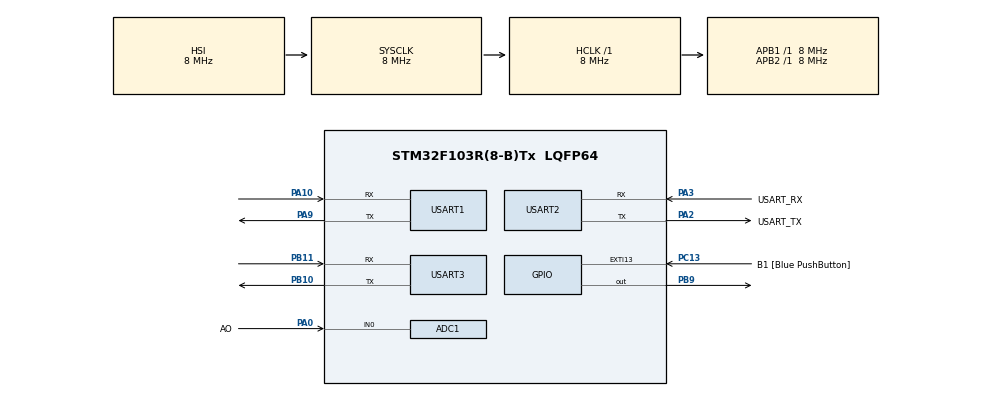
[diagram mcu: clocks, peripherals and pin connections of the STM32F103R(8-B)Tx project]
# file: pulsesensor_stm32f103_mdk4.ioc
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ADC1.Channel-0\#ChannelRegularConversion=ADC_CHANNEL_0
ADC1.EnableAnalogWatchDog=false
ADC1.Rank-0\#ChannelRegularConversion=1
ADC1.SamplingTime-0\#ChannelRegularConversion=ADC_SAMPLETIME_13CYCLES_5
ADC1.master=1
Mcu.Family=STM32F1
Mcu.Name=STM32F103R(8-B)Tx
Mcu.Package=LQFP64
NVIC.PriorityGroup=NVIC_PRIORITYGROUP_4
NVIC.TIM3_IRQn=true\:0\:0\:false
PA0-WKUP.GPIO_Label=AO
PA0-WKUP.GPIO_Mode=GPIO_MODE_ANALOG
PA0-WKUP.Signal=ADCx_IN0
PA10.Mode=Asynchronous
PA10.Signal=USART1_RX
PA13.GPIO_Label=TMS
PA13.Mode=Trace_Asynchronous_SW
PA13.Signal=SYS_JTMS-SWDIO
PA14.GPIO_Label=TCK
PA14.Mode=Trace_Asynchronous_SW
PA14.Signal=SYS_JTCK-SWCLK
PA2.GPIO_Label=USART_TX
PA2.GPIO_Mode=GPIO_MODE_AF_PP
PA2.GPIO_PuPd=GPIO_NOPULL
PA2.GPIO_Speed=GPIO_SPEED_HIGH
PA2.Mode=Asynchronous
PA2.Signal=USART2_TX
PA3.GPIO_Label=USART_RX
PA3.GPIO_Mode=GPIO_MODE_INPUT
PA3.GPIO_PuPd=GPIO_NOPULL
PA3.GPIO_Speed=GPIO_SPEED_LOW
PA3.Mode=Asynchronous
PA3.Signal=USART2_RX
PA9.Mode=Asynchronous
PA9.Signal=USART1_TX
PB10.Mode=Asynchronous
PB10.Signal=USART3_TX
PB11.Mode=Asynchronous
PB11.Signal=USART3_RX
PB3.GPIO_Label=SWO
PB3.Mode=Trace_Asynchronous_SW
PB3.Signal=SYS_JTDO-TRACESWO
PB9.Signal=GPIO_Output
PC13-TAMPER-RTC.GPIO_Label=B1 [Blue PushButton]
PC13-TAMPER-RTC.GPIO_ModeDefaultEXTI=GPIO_MODE_EVT_RISING
PC13-TAMPER-RTC.GPIO_PuPd=GPIO_NOPULL
PC13-TAMPER-RTC.Signal=GPXTI13
PC14-OSC32_IN.Signal=RCC_OSC32_IN
PC15-OSC32_OUT.Signal=RCC_OSC32_OUT
PD0-OSC_IN.Signal=RCC_OSC_IN
PD1-OSC_OUT.Signal=RCC_OSC_OUT
ProjectManager.HeapSize=0x200
ProjectManager.StackSize=0x400
ProjectManager.TargetToolchain=MDK-ARM V4
RCC.AHBFreq_Value=8000000
RCC.APB1Freq_Value=8000000
RCC.APB1TimFreq_Value=8000000
RCC.APB2Freq_Value=8000000
RCC.APB2TimFreq_Value=8000000
RCC.HCLKFreq_Value=8000000
RCC.PLLMUL=RCC_PLL_MUL16
RCC.SYSCLKFreq_VALUE=8000000
RCC.USBFreq_Value=64000000
SH.ADCx_IN0.0=ADC1_IN0,IN0
TIM3.Period=3999
TIM3.Prescaler=3
USART1.VirtualMode=VM_ASYNC
USART2.VirtualMode=VM_ASYNC
USART3.VirtualMode=VM_ASYNC
VP_TIM3_VS_ClockSourceINT.Mode=Internal
board=pulsesensor_stm32f103_mdk4

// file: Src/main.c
/**
  ******************************************************************************
  * File Name          : main.c
  * Date               : 29/09/2017 14:47:18
  * Description        : Main program body
  ******************************************************************************
  *
  * COPYRIGHT(c) 2017 STMicroelectronics
  *
  * Redistribution and use in source and binary forms, with or without modification,
  * are permitted provided that the following conditions are met:
  *   1. Redistributions of source code must retain the above copyright notice,
  *      this list of conditions and the following disclaimer.
  *   2. Redistributions in binary form must reproduce the above copyright notice,
  *      this list of conditions and the following disclaimer in the documentation
  *      and/or other materials provided with the distribution.
  *   3. Neither the name of STMicroelectronics nor the names of its contributors
  *      may be used to endorse or promote products derived from this software
  *      without specific prior written permission.
  *
  * THIS SOFTWARE IS PROVIDED BY THE COPYRIGHT HOLDERS AND CONTRIBUTORS "AS IS"
  * AND ANY EXPRESS OR IMPLIED WARRANTIES, INCLUDING, BUT NOT LIMITED TO, THE
  * IMPLIED WARRANTIES OF MERCHANTABILITY AND FITNESS FOR A PARTICULAR PURPOSE ARE
  * DISCLAIMED. IN NO EVENT SHALL THE COPYRIGHT HOLDER OR CONTRIBUTORS BE LIABLE
  * FOR ANY DIRECT, INDIRECT, INCIDENTAL, SPECIAL, EXEMPLARY, OR CONSEQUENTIAL
  * DAMAGES (INCLUDING, BUT NOT LIMITED TO, PROCUREMENT OF SUBSTITUTE GOODS OR
  * SERVICES; LOSS OF USE, DATA, OR PROFITS; OR BUSINESS INTERRUPTION) HOWEVER
  * CAUSED AND ON ANY THEORY OF LIABILITY, WHETHER IN CONTRACT, STRICT LIABILITY,
  * OR TORT (INCLUDING NEGLIGENCE OR OTHERWISE) ARISING IN ANY WAY OUT OF THE USE
  * OF THIS SOFTWARE, EVEN IF ADVISED OF THE POSSIBILITY OF SUCH DAMAGE.
  *
  ******************************************************************************
  */

#include "stm32f1xx_hal.h"

/* USER CODE BEGIN Includes */
#include "stdio.h"
/* USER CODE END Includes */

ADC_HandleTypeDef hadc1;

TIM_HandleTypeDef htim3;

UART_HandleTypeDef huart1;
UART_HandleTypeDef huart2;
UART_HandleTypeDef huart3;

/* USER CODE BEGIN PV */
// these variables are volatile because they are used during the interrupt service routine!
#define true 1
#define false 0
int BPM;                   // used to hold the pulse rate
int Signal;                // holds the incoming raw data
int IBI = 600;             // holds the time between beats, must be seeded!
unsigned char Pulse = false;     // true when pulse wave is high, false when it's low
unsigned char QS = false;        // becomes true when Arduoino finds a beat.
int rate[10];                    // array to hold last ten IBI values
unsigned long sampleCounter = 0;          // used to determine pulse timing
unsigned long lastBeatTime = 0;           // used to find IBI
int P =512;                      // used to find peak in pulse wave, seeded
int T = 512;                     // used to find trough in pulse wave, seeded
int thresh = 512;                // used to find instant moment of heart beat, seeded
int amp = 100;                   // used to hold amplitude of pulse waveform, seeded
int Num;
unsigned char firstBeat = true;        // used to seed rate array so we startup with reasonable BPM
unsigned char secondBeat = false;      // used to seed rate array so we startup with reasonable BPM
/* USER CODE END PV */

void SystemClock_Config(void);
static void MX_GPIO_Init(void);
static void SystemClock_Config(void);
static void MX_ADC1_Init(void);
static void MX_TIM3_Init(void);
static void MX_USART2_UART_Init(void);
static void MX_USART1_UART_Init(void);
static void MX_USART3_UART_Init(void);

/* USER CODE BEGIN PFP */
void sendDataToProcessing(char symbol, int dat );
#ifdef __GNUC__
  /* With GCC/RAISONANCE, small printf (option LD Linker->Libraries->Small printf
     set to 'Yes') calls __io_putchar() */
  #define PUTCHAR_PROTOTYPE int __io_putchar(int ch)
#else
  #define PUTCHAR_PROTOTYPE int fputc(int ch, FILE *f)
#endif /* __GNUC__ */
/* USER CODE END PFP */

int main(void)
{

  /* MCU Configuration----------------------------------------------------------*/

  /* Reset of all peripherals, Initializes the Flash interface and the Systick. */
  HAL_Init();

  /* Configure the system clock */
  SystemClock_Config();

  /* Initialize all configured peripherals */
  MX_GPIO_Init();
  SystemClock_Config();
  MX_ADC1_Init();
  MX_TIM3_Init();
  MX_USART2_UART_Init();
  MX_USART1_UART_Init();
  MX_USART3_UART_Init();

  /* USER CODE BEGIN 2 */
  HAL_TIM_Base_Start_IT(&htim3);
  /* USER CODE END 2 */

  /* Infinite loop */
  /* USER CODE BEGIN WHILE */
  while (1)
  {
		sendDataToProcessing('S', Signal);     // send Processing the raw Pulse Sensor data
		if (QS == true)
		{
				sendDataToProcessing('B',BPM);   // send heart rate with a 'B' prefix
				sendDataToProcessing('Q',IBI);   // send time between beats with a 'Q' prefix
				QS = false;                      // reset the Quantified Self flag for next time
		}
		HAL_Delay(20);	//delay for 20ms
  /* USER CODE END WHILE */

  }

}

/** System Clock Configuration
*/
void SystemClock_Config(void)
{

  RCC_OscInitTypeDef RCC_OscInitStruct;
  RCC_ClkInitTypeDef RCC_ClkInitStruct;
  RCC_PeriphCLKInitTypeDef PeriphClkInit;

  RCC_OscInitStruct.OscillatorType = RCC_OSCILLATORTYPE_HSI;
  RCC_OscInitStruct.HSIState = RCC_HSI_ON;
  RCC_OscInitStruct.HSICalibrationValue = 16;
  RCC_OscInitStruct.PLL.PLLState = RCC_PLL_NONE;
  HAL_RCC_OscConfig(&RCC_OscInitStruct);

  RCC_ClkInitStruct.ClockType = RCC_CLOCKTYPE_SYSCLK;
  RCC_ClkInitStruct.SYSCLKSource = RCC_SYSCLKSOURCE_HSI;
  RCC_ClkInitStruct.AHBCLKDivider = RCC_SYSCLK_DIV1;
  RCC_ClkInitStruct.APB1CLKDivider = RCC_HCLK_DIV1;
  RCC_ClkInitStruct.APB2CLKDivider = RCC_HCLK_DIV1;
  HAL_RCC_ClockConfig(&RCC_ClkInitStruct, FLASH_LATENCY_0);

  PeriphClkInit.PeriphClockSelection = RCC_PERIPHCLK_ADC;
  PeriphClkInit.AdcClockSelection = RCC_ADCPCLK2_DIV2;
  HAL_RCCEx_PeriphCLKConfig(&PeriphClkInit);

}

/* ADC1 init function */
void MX_ADC1_Init(void)
{

  ADC_ChannelConfTypeDef sConfig;

    /**Common config
    */
  hadc1.Instance = ADC1;
  hadc1.Init.ScanConvMode = ADC_SCAN_DISABLE;
  hadc1.Init.ContinuousConvMode = DISABLE;
  hadc1.Init.DiscontinuousConvMode = DISABLE;
  hadc1.Init.ExternalTrigConv = ADC_SOFTWARE_START;
  hadc1.Init.DataAlign = ADC_DATAALIGN_RIGHT;
  hadc1.Init.NbrOfConversion = 1;
  HAL_ADC_Init(&hadc1);

    /**Configure Regular Channel
    */
  sConfig.Channel = ADC_CHANNEL_0;
  sConfig.Rank = 1;
  sConfig.SamplingTime = ADC_SAMPLETIME_13CYCLES_5;
  HAL_ADC_ConfigChannel(&hadc1, &sConfig);

}

/* TIM3 init function */
void MX_TIM3_Init(void)
{

  TIM_ClockConfigTypeDef sClockSourceConfig;
  TIM_MasterConfigTypeDef sMasterConfig;

  htim3.Instance = TIM3;
  htim3.Init.Prescaler = 3;
  htim3.Init.CounterMode = TIM_COUNTERMODE_UP;
  htim3.Init.Period = 3999;
  htim3.Init.ClockDivision = TIM_CLOCKDIVISION_DIV1;
  HAL_TIM_Base_Init(&htim3);

  sClockSourceConfig.ClockSource = TIM_CLOCKSOURCE_INTERNAL;
  HAL_TIM_ConfigClockSource(&htim3, &sClockSourceConfig);

  sMasterConfig.MasterOutputTrigger = TIM_TRGO_RESET;
  sMasterConfig.MasterSlaveMode = TIM_MASTERSLAVEMODE_DISABLE;
  HAL_TIMEx_MasterConfigSynchronization(&htim3, &sMasterConfig);

}

/* USART1 init function */
void MX_USART1_UART_Init(void)
{

  huart1.Instance = USART1;
  huart1.Init.BaudRate = 115200;
  huart1.Init.WordLength = UART_WORDLENGTH_8B;
  huart1.Init.StopBits = UART_STOPBITS_1;
  huart1.Init.Parity = UART_PARITY_NONE;
  huart1.Init.Mode = UART_MODE_TX_RX;
  huart1.Init.HwFlowCtl = UART_HWCONTROL_NONE;
  huart1.Init.OverSampling = UART_OVERSAMPLING_16;
  HAL_UART_Init(&huart1);

}

/* USART2 init function */
void MX_USART2_UART_Init(void)
{

  huart2.Instance = USART2;
  huart2.Init.BaudRate = 115200;
  huart2.Init.WordLength = UART_WORDLENGTH_8B;
  huart2.Init.StopBits = UART_STOPBITS_1;
  huart2.Init.Parity = UART_PARITY_NONE;
  huart2.Init.Mode = UART_MODE_TX_RX;
  huart2.Init.HwFlowCtl = UART_HWCONTROL_NONE;
  huart2.Init.OverSampling = UART_OVERSAMPLING_16;
  HAL_UART_Init(&huart2);

}

/* USART3 init function */
void MX_USART3_UART_Init(void)
{

  huart3.Instance = USART3;
  huart3.Init.BaudRate = 115200;
  huart3.Init.WordLength = UART_WORDLENGTH_8B;
  huart3.Init.StopBits = UART_STOPBITS_1;
  huart3.Init.Parity = UART_PARITY_NONE;
  huart3.Init.Mode = UART_MODE_TX_RX;
  huart3.Init.HwFlowCtl = UART_HWCONTROL_NONE;
  huart3.Init.OverSampling = UART_OVERSAMPLING_16;
  HAL_UART_Init(&huart3);

}

/** Configure pins as
        * Analog
        * Input
        * Output
        * EVENT_OUT
        * EXTI
*/
void MX_GPIO_Init(void)
{

  GPIO_InitTypeDef GPIO_InitStruct;

  /* GPIO Ports Clock Enable */
  __GPIOC_CLK_ENABLE();
  __GPIOD_CLK_ENABLE();
  __GPIOA_CLK_ENABLE();
  __GPIOB_CLK_ENABLE();

  /*Configure GPIO pin : PC13 */
  GPIO_InitStruct.Pin = GPIO_PIN_13;
  GPIO_InitStruct.Mode = GPIO_MODE_EVT_RISING;
  GPIO_InitStruct.Pull = GPIO_NOPULL;
  HAL_GPIO_Init(GPIOC, &GPIO_InitStruct);

  /*Configure GPIO pin : PB9 */
  GPIO_InitStruct.Pin = GPIO_PIN_9;
  GPIO_InitStruct.Mode = GPIO_MODE_OUTPUT_PP;
  GPIO_InitStruct.Speed = GPIO_SPEED_LOW;
  HAL_GPIO_Init(GPIOB, &GPIO_InitStruct);

}

/* USER CODE BEGIN 4 */
/**
  * @brief  Retargets the C library printf function to the USART.
  * @param  None
  * @retval None
  */
PUTCHAR_PROTOTYPE
{
  /* Place your implementation of fputc here */
  /* e.g. write a character to the EVAL_COM1 and Loop until the end of transmission */
  HAL_UART_Transmit(&huart1, (uint8_t *)&ch, 1, 0xFFFF);
//  HAL_UART_Transmit(&huart3, (uint8_t *)&ch, 1, 0xFFFF);

  return ch;
}

void HAL_TIM_PeriodElapsedCallback(TIM_HandleTypeDef *htim)
{
	unsigned int runningTotal;
	if(htim->Instance==htim3.Instance)
	{
		Signal=HAL_ADC_GetValue(&hadc1)>>2;					 // read the Pulse Senso
		sampleCounter += 2;                         // keep track of the time in mS with this variable
		Num = sampleCounter - lastBeatTime;       // monitor the time since the last beat to avoid noise
		HAL_ADC_Start(&hadc1);									//restart ADC conversion

		//  find the peak and trough of the pulse wave
  if(Signal < thresh && Num > (IBI/5)*3){       // avoid dichrotic noise by waiting 3/5 of last IBI
    if (Signal < T){                        // T is the trough
      T = Signal;                         // keep track of lowest point in pulse wave
    }
  }

  if(Signal > thresh && Signal > P){          // thresh condition helps avoid noise
    P = Signal;                             // P is the peak
  }                                        // keep track of highest point in pulse wave

  //  NOW IT'S TIME TO LOOK FOR THE HEART BEAT
  // signal surges up in value every time there is a pulse
  if (Num > 250){                                   // avoid high frequency noise
    if ( (Signal > thresh) && (Pulse == false) && (Num > (IBI/5)*3) ){
      Pulse = true;                               // set the Pulse flag when we think there is a pulse
      HAL_GPIO_WritePin(GPIOB,GPIO_PIN_9,GPIO_PIN_SET);                // turn on pin 13 LED
      IBI = sampleCounter - lastBeatTime;         // measure time between beats in mS
      lastBeatTime = sampleCounter;               // keep track of time for next pulse

      if(secondBeat){                        // if this is the second beat, if secondBeat == TRUE
        secondBeat = false;                  // clear secondBeat flag
        for(int i=0; i<=9; i++){             // seed the running total to get a realisitic BPM at startup
          rate[i] = IBI;
        }
      }

      if(firstBeat){                         // if it's the first time we found a beat, if firstBeat == TRUE
        firstBeat = false;                   // clear firstBeat flag
        secondBeat = true;                   // set the second beat flag
 //       sei();                               // enable interrupts again
        return;                              // IBI value is unreliable so discard it
      }

      // keep a running total of the last 10 IBI values
      runningTotal = 0;                  // clear the runningTotal variable

      for(int i=0; i<=8; i++){                // shift data in the rate array
        rate[i] = rate[i+1];                  // and drop the oldest IBI value
        runningTotal += rate[i];              // add up the 9 oldest IBI values
      }

      rate[9] = IBI;                          // add the latest IBI to the rate array
      runningTotal += rate[9];                // add the latest IBI to runningTotal
      runningTotal /= 10;                     // average the last 10 IBI values
      BPM = 60000/runningTotal;               // how many beats can fit into a minute? that's BPM!
      QS = true;                              // set Quantified Self flag
      // QS FLAG IS NOT CLEARED INSIDE THIS ISR
    }
  }

  if (Signal < thresh && Pulse == true){   // when the values are going down, the beat is over
     HAL_GPIO_WritePin(GPIOB,GPIO_PIN_9,GPIO_PIN_RESET);            // turn off pin 13 LED
    Pulse = false;                         // reset the Pulse flag so we can do it again
    amp = P - T;                           // get amplitude of the pulse wave
    thresh = amp/2 + T;                    // set thresh at 50% of the amplitude
    P = thresh;                            // reset these for next time
    T = thresh;
  }

  if (Num > 2500){                           // if 2.5 seconds go by without a beat
    thresh = 512;                          // set thresh default
    P = 512;                               // set P default
    T = 512;                               // set T default
    lastBeatTime = sampleCounter;          // bring the lastBeatTime up to date
    firstBeat = true;                      // set these to avoid noise
    secondBeat = false;                    // when we get the heartbeat back
  }

	}
}

void sendDataToProcessing(char symbol, int dat )
{
    putchar(symbol);                // symbol prefix tells Processing what type of data is coming
		printf("%d\r\n",dat);						// the data to send culminating in a carriage return
}
/* USER CODE END 4 */

/************************ (C) COPYRIGHT STMicroelectronics *****END OF FILE****/
